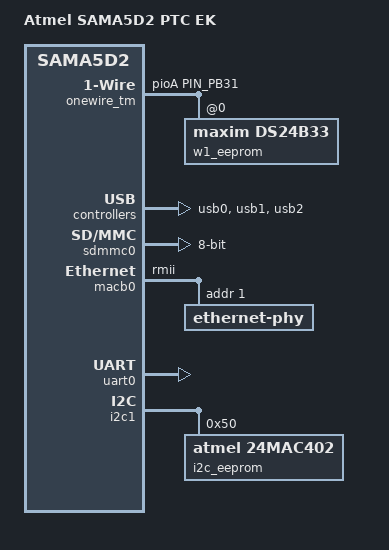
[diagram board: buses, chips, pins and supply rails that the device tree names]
/*
 * at91-sama5d2_ptc_ek.dts - Device Tree file for SAMA5D2 PTC EK board
 *
 *  Copyright (C) 2017 Microchip Technology Inc,
 *		       Ludovic Desroches <ludovic.desroches@microchip.com>
 *
 * This file is dual-licensed: you can use it either under the terms
 * of the GPL or the X11 license, at your option. Note that this dual
 * licensing only applies to this file, and not this project as a
 * whole.
 *
 *  a) This file is free software; you can redistribute it and/or
 *     modify it under the terms of the GNU General Public License as
 *     published by the Free Software Foundation; either version 2 of the
 *     License, or (at your option) any later version.
 *
 *     This file is distributed in the hope that it will be useful,
 *     but WITHOUT ANY WARRANTY; without even the implied warranty of
 *     MERCHANTABILITY or FITNESS FOR A PARTICULAR PURPOSE.  See the
 *     GNU General Public License for more details.
 *
 * Or, alternatively,
 *
 *  b) Permission is hereby granted, free of charge, to any person
 *     obtaining a copy of this software and associated documentation
 *     files (the "Software"), to deal in the Software without
 *     restriction, including without limitation the rights to use,
 *     copy, modify, merge, publish, distribute, sublicense, and/or
 *     sell copies of the Software, and to permit persons to whom the
 *     Software is furnished to do so, subject to the following
 *     conditions:
 *
 *     The above copyright notice and this permission notice shall be
 *     included in all copies or substantial portions of the Software.
 *
 *     THE SOFTWARE IS PROVIDED "AS IS", WITHOUT WARRANTY OF ANY KIND,
 *     EXPRESS OR IMPLIED, INCLUDING BUT NOT LIMITED TO THE WARRANTIES
 *     OF MERCHANTABILITY, FITNESS FOR A PARTICULAR PURPOSE AND
 *     NONINFRINGEMENT. IN NO EVENT SHALL THE AUTHORS OR COPYRIGHT
 *     HOLDERS BE LIABLE FOR ANY CLAIM, DAMAGES OR OTHER LIABILITY,
 *     WHETHER IN AN ACTION OF CONTRACT, TORT OR OTHERWISE, ARISING
 *     FROM, OUT OF OR IN CONNECTION WITH THE SOFTWARE OR THE USE OR
 *     OTHER DEALINGS IN THE SOFTWARE.
 */
/dts-v1/;
#include <dt-bindings/gpio/gpio.h>
#include "sama5d2.dtsi"
#include "sama5d2-pinfunc.h"

/ {
	model = "Atmel SAMA5D2 PTC EK";
	compatible = "atmel,sama5d2-ptc_ek", "atmel,sama5d2", "atmel,sama5";

	chosen {
		u-boot,dm-pre-reloc;
		stdout-path = &uart0;
	};

	onewire_tm: onewire {
		gpios = <&pioA PIN_PB31 0>;
		pinctrl-names = "default";
		pinctrl-0 = <&pinctrl_onewire_tm_default>;
		status = "okay";

		w1_eeprom: w1_eeprom@0 {
			compatible = "maxim,ds24b33";
			status = "okay";
		};
	};

	ahb {
		usb0: gadget@00300000 {
			atmel,vbus-gpio = <&pioA PIN_PA27 GPIO_ACTIVE_HIGH>;
			pinctrl-names = "default";
			pinctrl-0 = <&pinctrl_usba_vbus>;
			status = "okay";
		};

		usb1: ohci@00400000 {
			num-ports = <3>;
			atmel,vbus-gpio = <0
					   &pioA PIN_PB12 GPIO_ACTIVE_HIGH
					   0
					  >;
			pinctrl-names = "default";
			pinctrl-0 = <&pinctrl_usb_default>;
			status = "okay";
		};

		usb2: ehci@00500000 {
			status = "okay";
		};

		sdmmc0: sdio-host@a0000000 {
			bus-width = <8>;
			pinctrl-names = "default";
			pinctrl-0 = <&pinctrl_sdmmc0_cmd_dat_default &pinctrl_sdmmc0_ck_cd_default>;
			status = "okay";
			u-boot,dm-pre-reloc;
		};

		sdmmc1: sdio-host@b0000000 {
			bus-width = <4>;
			pinctrl-names = "default";
			pinctrl-0 = <&pinctrl_sdmmc1_cmd_dat_default &pinctrl_sdmmc1_ck_cd_default>;
			status = "disabled"; /* conflicts with nand and qspi0*/
			u-boot,dm-pre-reloc;
		};

		apb {
			macb0: ethernet@f8008000 {
				pinctrl-names = "default";
				pinctrl-0 = <&pinctrl_macb0_rmii &pinctrl_macb0_phy_irq>;
				phy-mode = "rmii";
				status = "okay";

				ethernet-phy@1 {
					reg = <0x1>;
				};
			};

			uart0: serial@f801c000 {
				pinctrl-names = "default";
				pinctrl-0 = <&pinctrl_uart0_default>;
				status = "okay";
				u-boot,dm-pre-reloc;
			};

			i2c1: i2c@fc028000 {
				pinctrl-names = "default";
				pinctrl-0 = <&pinctrl_i2c1_default>;
				status = "okay";

				i2c_eeprom: i2c_eeprom@50 {
					compatible = "atmel,24mac402";
					reg = <0x50>;
				};
			};

			pioA: gpio@fc038000 {
				pinctrl {
					pinctrl_i2c1_default: i2c1_default {
						pinmux = <PIN_PC6__TWD1>,
							 <PIN_PC7__TWCK1>;
						bias-disable;
					};

					pinctrl_macb0_phy_irq: macb0_phy_irq {
						pinmux = <PIN_PB24__GPIO>;
						bias-disable;
					};

					pinctrl_macb0_rmii: macb0_rmii {
						pinmux = <PIN_PB14__GTXCK>,
							 <PIN_PB15__GTXEN>,
							 <PIN_PB16__GRXDV>,
							 <PIN_PB17__GRXER>,
							 <PIN_PB18__GRX0>,
							 <PIN_PB19__GRX1>,
							 <PIN_PB20__GTX0>,
							 <PIN_PB21__GTX1>,
							 <PIN_PB22__GMDC>,
							 <PIN_PB23__GMDIO>;
						bias-disable;
					};

					pinctrl_sdmmc0_cmd_dat_default: sdmmc0_cmd_dat_default {
						pinmux = <PIN_PA1__SDMMC0_CMD>,
							 <PIN_PA2__SDMMC0_DAT0>,
							 <PIN_PA3__SDMMC0_DAT1>,
							 <PIN_PA4__SDMMC0_DAT2>,
							 <PIN_PA5__SDMMC0_DAT3>,
							 <PIN_PA6__SDMMC0_DAT4>,
							 <PIN_PA7__SDMMC0_DAT5>,
							 <PIN_PA8__SDMMC0_DAT6>,
							 <PIN_PA9__SDMMC0_DAT7>;
						bias-pull-up;
						u-boot,dm-pre-reloc;
					};

					pinctrl_sdmmc0_ck_cd_default: sdmmc0_ck_cd_default {
						pinmux = <PIN_PA0__SDMMC0_CK>,
							 <PIN_PA10__SDMMC0_RSTN>,
							 <PIN_PA11__SDMMC0_VDDSEL>,
							 <PIN_PA13__SDMMC0_CD>;
						bias-disable;
						u-boot,dm-pre-reloc;
					};

					pinctrl_sdmmc1_cmd_dat_default: sdmmc1_cmd_dat_default {
						pinmux = <PIN_PA28__SDMMC1_CMD>,
							 <PIN_PA18__SDMMC1_DAT0>,
							 <PIN_PA19__SDMMC1_DAT1>,
							 <PIN_PA20__SDMMC1_DAT2>,
							 <PIN_PA21__SDMMC1_DAT3>;
						bias-pull-up;
						u-boot,dm-pre-reloc;
					};

					pinctrl_sdmmc1_ck_cd_default: sdmmc1_ck_cd_default {
						pinmux = <PIN_PA22__SDMMC1_CK>,
							 <PIN_PA30__SDMMC1_CD>;
						bias-disable;
						u-boot,dm-pre-reloc;
					};

					pinctrl_uart0_default: uart0_default {
						pinmux = <PIN_PB26__URXD0>,
							 <PIN_PB27__UTXD0>;
						bias-disable;
						u-boot,dm-pre-reloc;
					};

					pinctrl_usb_default: usb_default {
						pinmux = <PIN_PB12__GPIO>;
						bias-disable;
					};

					pinctrl_usba_vbus: usba_vbus {
						pinmux = <PIN_PB11__GPIO>;
						bias-disable;
					};

					pinctrl_onewire_tm_default: onewire_tm_default {
						pinmux = <PIN_PB31__GPIO>;
						bias-pull-up;
					};
				};
			};
		};
	};
};
